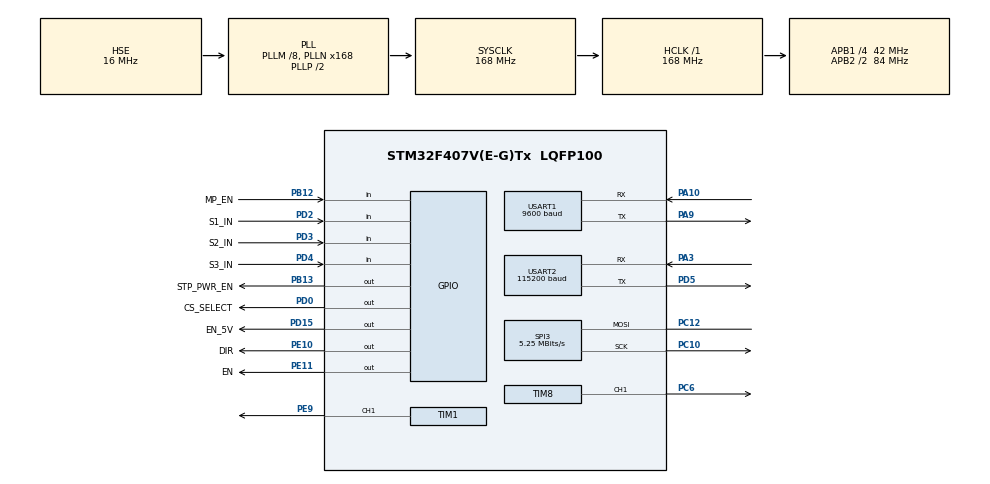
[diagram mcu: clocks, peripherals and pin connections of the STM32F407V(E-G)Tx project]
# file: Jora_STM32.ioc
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FREERTOS.HEAP_NUMBER=4
FREERTOS.INCLUDE_eTaskGetState=1
FREERTOS.INCLUDE_pcTaskGetTaskName=0
FREERTOS.INCLUDE_uxTaskGetStackHighWaterMark=1
FREERTOS.INCLUDE_uxTaskPriorityGet=1
FREERTOS.INCLUDE_vTaskCleanUpResources=0
FREERTOS.INCLUDE_vTaskDelay=1
FREERTOS.INCLUDE_vTaskDelayUntil=1
FREERTOS.INCLUDE_vTaskDelete=1
FREERTOS.INCLUDE_vTaskPrioritySet=1
FREERTOS.INCLUDE_vTaskSuspend=1
FREERTOS.INCLUDE_xEventGroupSetBitFromISR=0
FREERTOS.INCLUDE_xQueueGetMutexHolder=1
FREERTOS.INCLUDE_xSemaphoreGetMutexHolder=0
FREERTOS.INCLUDE_xTaskAbortDelay=0
FREERTOS.INCLUDE_xTaskGetCurrentTaskHandle=0
FREERTOS.INCLUDE_xTaskGetHandle=0
FREERTOS.INCLUDE_xTaskGetSchedulerState=1
FREERTOS.INCLUDE_xTaskResumeFromISR=1
FREERTOS.INCLUDE_xTimerPendFunctionCall=1
FREERTOS.Tasks01=Scan,24,128,SonnarTask,Default,NULL,Dynamic,NULL,NULL;Standby,24,128,StandbyTask,Default,NULL,Dynamic,NULL,NULL;Eye,24,128,EyeTask,Default,NULL,Dynamic,NULL,NULL;Led,24,128,LedTask,Default,NULL,Dynamic,NULL,NULL;MPE,24,128,En_Task,Default,NULL,Dynamic,NULL,NULL
FREERTOS.configCHECK_FOR_STACK_OVERFLOW=0
FREERTOS.configENABLE_BACKWARD_COMPATIBILITY=1
FREERTOS.configGENERATE_RUN_TIME_STATS=0
FREERTOS.configIDLE_SHOULD_YIELD=1
FREERTOS.configLIBRARY_LOWEST_INTERRUPT_PRIORITY=15
FREERTOS.configLIBRARY_MAX_SYSCALL_INTERRUPT_PRIORITY=5
FREERTOS.configMAX_CO_ROUTINE_PRIORITIES=2
FREERTOS.configMAX_TASK_NAME_LEN=16
FREERTOS.configMINIMAL_STACK_SIZE=128
FREERTOS.configQUEUE_REGISTRY_SIZE=8
FREERTOS.configRECORD_STACK_HIGH_ADDRESS=0
FREERTOS.configTICK_RATE_HZ=1000
FREERTOS.configTIMER_QUEUE_LENGTH=10
FREERTOS.configTIMER_TASK_PRIORITY=2
FREERTOS.configTIMER_TASK_STACK_DEPTH=256
FREERTOS.configTOTAL_HEAP_SIZE=15360
FREERTOS.configUSE_APPLICATION_TASK_TAG=0
FREERTOS.configUSE_COUNTING_SEMAPHORES=1
FREERTOS.configUSE_CO_ROUTINES=0
FREERTOS.configUSE_DAEMON_TASK_STARTUP_HOOK=0
FREERTOS.configUSE_IDLE_HOOK=0
FREERTOS.configUSE_MALLOC_FAILED_HOOK=0
FREERTOS.configUSE_MUTEXES=1
FREERTOS.configUSE_PREEMPTION=1
FREERTOS.configUSE_RECURSIVE_MUTEXES=1
FREERTOS.configUSE_STATS_FORMATTING_FUNCTIONS=0
FREERTOS.configUSE_TASK_NOTIFICATIONS=1
FREERTOS.configUSE_TICKLESS_IDLE=0
FREERTOS.configUSE_TICK_HOOK=0
FREERTOS.configUSE_TRACE_FACILITY=1
Mcu.Family=STM32F4
Mcu.Name=STM32F407V(E-G)Tx
Mcu.Package=LQFP100
NVIC.PriorityGroup=NVIC_PRIORITYGROUP_4
NVIC.TIM2_IRQn=true\:0\:0\:false\:false\:true\:false\:false\:true
NVIC.TimeBase=TIM2_IRQn
NVIC.TimeBaseIP=TIM2
NVIC.USART2_IRQn=true\:6\:0\:true\:false\:true\:true\:true\:true
PA10.Mode=Asynchronous
PA10.Signal=USART1_RX
PA13.Mode=Serial_Wire
PA13.Signal=SYS_JTMS-SWDIO
PA14.Mode=Serial_Wire
PA14.Signal=SYS_JTCK-SWCLK
PA3.Mode=Asynchronous
PA3.Signal=USART2_RX
PA9.Mode=Asynchronous
PA9.Signal=USART1_TX
PB12.GPIO_Label=MP_EN
PB12.Signal=GPIO_Input
PB13.GPIO_Label=STP_PWR_EN
PB13.Signal=GPIO_Output
PC10.Mode=Simplex_Bidirectional_Master
PC10.Signal=SPI3_SCK
PC12.Mode=Simplex_Bidirectional_Master
PC12.Signal=SPI3_MOSI
PC6.GPIO_Speed=GPIO_SPEED_FREQ_VERY_HIGH
PC6.Signal=S_TIM8_CH1
PD0.GPIO_Label=CS_SELECT
PD0.Signal=GPIO_Output
PD15.GPIO_Label=EN_5V
PD15.PinState=GPIO_PIN_RESET
PD15.Signal=GPIO_Output
PD2.GPIO_Label=S1_IN
PD2.Signal=GPIO_Input
PD3.GPIO_Label=S2_IN
PD3.Signal=GPIO_Input
PD4.GPIO_Label=S3_IN
PD4.Signal=GPIO_Input
PD5.Mode=Asynchronous
PD5.Signal=USART2_TX
PE10.GPIO_Label=DIR
PE10.GPIO_Speed=GPIO_SPEED_FREQ_LOW
PE10.PinState=GPIO_PIN_SET
PE10.Signal=GPIO_Output
PE11.GPIO_Label=EN
PE11.GPIO_Speed=GPIO_SPEED_FREQ_MEDIUM
PE11.PinState=GPIO_PIN_RESET
PE11.Signal=GPIO_Output
PE9.GPIO_Speed=GPIO_SPEED_FREQ_HIGH
PE9.Signal=S_TIM1_CH1
PH0-OSC_IN.Mode=HSE-External-Oscillator
PH0-OSC_IN.Signal=RCC_OSC_IN
PH1-OSC_OUT.Mode=HSE-External-Oscillator
PH1-OSC_OUT.Signal=RCC_OSC_OUT
ProjectManager.HeapSize=0x200
ProjectManager.StackSize=0x400
ProjectManager.TargetToolchain=MDK-ARM V5.27
RCC.48MHZClocksFreq_Value=84000000
RCC.AHBFreq_Value=168000000
RCC.APB1CLKDivider=RCC_HCLK_DIV4
RCC.APB1Freq_Value=42000000
RCC.APB1TimFreq_Value=84000000
RCC.APB2CLKDivider=RCC_HCLK_DIV2
RCC.APB2Freq_Value=84000000
RCC.APB2TimFreq_Value=168000000
RCC.CortexFreq_Value=168000000
RCC.FLatency=FLASH_LATENCY_5
RCC.HCLKFreq_Value=168000000
RCC.HSE_VALUE=16000000
RCC.HSI_VALUE=16000000
RCC.LSE_VALUE=32768
RCC.PLLM=8
RCC.PLLN=168
RCC.PLLSourceVirtual=RCC_PLLSOURCE_HSE
RCC.SYSCLKFreq_VALUE=168000000
RCC.SYSCLKSource=RCC_SYSCLKSOURCE_PLLCLK
RCC.VCOOutputFreq_Value=336000000
SH.S_TIM1_CH1.0=TIM1_CH1,PWM Generation1 CH1
SH.S_TIM8_CH1.0=TIM8_CH1,PWM Generation1 CH1
SPI3.BaudRatePrescaler=SPI_BAUDRATEPRESCALER_8
SPI3.CalculateBaudRate=5.25 MBits/s
SPI3.Direction=SPI_DIRECTION_1LINE
SPI3.Mode=SPI_MODE_MASTER
SPI3.VirtualType=VM_MASTER
TIM1.AutoReloadPreload=TIM_AUTORELOAD_PRELOAD_DISABLE
TIM1.AutomaticOutput=TIM_AUTOMATICOUTPUT_DISABLE
TIM1.BreakPolarity=TIM_BREAKPOLARITY_HIGH
TIM1.BreakState=TIM_BREAK_DISABLE
TIM1.Channel-PWM\ Generation1\ CH1=TIM_CHANNEL_1
TIM1.ClockDivision=TIM_CLOCKDIVISION_DIV1
TIM1.CounterMode=TIM_COUNTERMODE_UP
TIM1.LockLevel=TIM_LOCKLEVEL_OFF
TIM1.OC1Preload_PWM=ENABLE
TIM1.OCFastMode_PWM-PWM\ Generation1\ CH1=TIM_OCFAST_DISABLE
TIM1.OCIdleState_1=TIM_OCIDLESTATE_RESET
TIM1.OCMode_PWM-PWM\ Generation1\ CH1=TIM_OCMODE_PWM1
TIM1.OCPolarity_1=TIM_OCPOLARITY_HIGH
TIM1.OffStateIDLEMode=TIM_OSSI_DISABLE
TIM1.OffStateRunMode=TIM_OSSR_DISABLE
TIM1.Period=335
TIM1.Prescaler=99
TIM1.Pulse-PWM\ Generation1\ CH1=0
TIM1.RepetitionCounter=0
TIM1.TIM_MasterOutputTrigger=TIM_TRGO_RESET
TIM1.TIM_MasterSlaveMode=TIM_MASTERSLAVEMODE_DISABLE
TIM8.AutoReloadPreload=TIM_AUTORELOAD_PRELOAD_DISABLE
TIM8.AutomaticOutput=TIM_AUTOMATICOUTPUT_DISABLE
TIM8.BreakPolarity=TIM_BREAKPOLARITY_HIGH
TIM8.BreakState=TIM_BREAK_DISABLE
TIM8.Channel-PWM\ Generation1\ CH1=TIM_CHANNEL_1
TIM8.ClockDivision=TIM_CLOCKDIVISION_DIV1
TIM8.CounterMode=TIM_COUNTERMODE_UP
TIM8.LockLevel=TIM_LOCKLEVEL_OFF
TIM8.OC1Preload_PWM=ENABLE
TIM8.OCFastMode_PWM-PWM\ Generation1\ CH1=TIM_OCFAST_DISABLE
TIM8.OCIdleState_1=TIM_OCIDLESTATE_RESET
TIM8.OCMode_PWM-PWM\ Generation1\ CH1=TIM_OCMODE_PWM1
TIM8.OCPolarity_1=TIM_OCPOLARITY_HIGH
TIM8.OffStateIDLEMode=TIM_OSSI_DISABLE
TIM8.OffStateRunMode=TIM_OSSR_DISABLE
TIM8.Period=1679
TIM8.Prescaler=9
TIM8.Pulse-PWM\ Generation1\ CH1=0
TIM8.RepetitionCounter=0
TIM8.TIM_MasterOutputTrigger=TIM_TRGO_RESET
TIM8.TIM_MasterSlaveMode=TIM_MASTERSLAVEMODE_DISABLE
USART1.BaudRate=9600
USART1.Mode=MODE_TX_RX
USART1.OverSampling=UART_OVERSAMPLING_16
USART1.Parity=PARITY_NONE
USART1.StopBits=STOPBITS_1
USART1.VirtualMode=VM_ASYNC
USART1.WordLength=WORDLENGTH_8B
USART2.BaudRate=115200
USART2.Mode=MODE_TX_RX
USART2.OverSampling=UART_OVERSAMPLING_16
USART2.Parity=PARITY_NONE
USART2.StopBits=STOPBITS_1
USART2.VirtualMode=VM_ASYNC
USART2.WordLength=WORDLENGTH_8B
VP_FREERTOS_VS_CMSIS_V2.Mode=CMSIS_V2
VP_SYS_VS_tim2.Mode=TIM2
board=custom

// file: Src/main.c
/* USER CODE BEGIN Header */
/**
  ******************************************************************************
  * @file           : main.c
  * @brief          : Main program body
  ******************************************************************************
  * @attention
  *
  * <h2><center>&copy; Copyright (c) 2019 STMicroelectronics.
  * All rights reserved.</center></h2>
  *
  * This software component is licensed by ST under BSD 3-Clause license,
  * the "License"; You may not use this file except in compliance with the
  * License. You may obtain a copy of the License at:
  *                        opensource.org/licenses/BSD-3-Clause
  *
  ******************************************************************************
  */
/* USER CODE END Header */

#include "main.h"
#include "cmsis_os.h"

/* USER CODE BEGIN Includes */
#include "stdio.h"
#include "dwt_delay.h"
#include "stdbool.h"
#include "max7219.h"
#include "dfplayer.h"
#include "stepper.h"
#include <string.h>
/* USER CODE END Includes */

SPI_HandleTypeDef hspi3;

TIM_HandleTypeDef htim1;
TIM_HandleTypeDef htim8;

UART_HandleTypeDef huart1;
UART_HandleTypeDef huart2;

osThreadId_t ScanHandle;
osThreadId_t StandbyHandle;
osThreadId_t EyeHandle;
osThreadId_t LedHandle;
osThreadId_t MPEHandle;
/* USER CODE BEGIN PV */
//Input buffer from Atmega328p. Raw data
uint8_t in_buffer[9]={0}; // Raw data from 3 sensors
uint8_t mp1[10] = {0x7E, 0xFF, 06, 0x12, 00, 00, 01, 0xFE, 0xE8, 0xEF};
//Sonar data chars
char s1_capture[3]; //Sonar 1 char array
char s2_capture[3];	//Sonar 2 char array
char s3_capture[3];	//Sonar 3 char array
//
uint8_t measure_mess[1]="1"; //Message for Atmega328p
bool human = false; //If human is near Jora bool will be true
bool mainpwr_en = false;
int estate;
int standby_phrases = 1; //Counter for standby phrases
/* USER CODE END PV */

void SystemClock_Config(void);
static void MX_GPIO_Init(void);
static void MX_TIM1_Init(void);
static void MX_TIM8_Init(void);
static void MX_USART1_UART_Init(void);
static void MX_SPI3_Init(void);
static void MX_USART2_UART_Init(void);
void SonnarTask(void *argument);
void StandbyTask(void *argument);
void EyeTask(void *argument);
void LedTask(void *argument);
void En_Task(void *argument);

/* USER CODE BEGIN 0 */
void sonnar() {
	int i;
  //If RX receive. Interrupt. USART2
  if (huart2.RxXferCount == 0) {
    HAL_UART_Receive_IT(&huart2, in_buffer, 9);
  }
  //From RAW data to sensors arrays
  for(i = 0; i<=2;i++)
	{
  s1_capture[i]=in_buffer[i];
  }

  for(i = 0; i<=2;i++) {
  s2_capture[i]=in_buffer[i+3];
  }

  for(i = 0; i<=2;i++) {
  s3_capture[i]=in_buffer[i+6];
  }

  //Making register cell 0, becase RAW data send empty data.
  if (s1_capture[0] == 0x20) {
    s1_capture[0] = 0;
  }
  if (s2_capture[0] == 0x20) {
    s2_capture[0] = 0;
  }
  if (s3_capture[0] == 0x20) {
    s3_capture[0] = 0;
  }
  //
  if (s1_capture[1] == 0x20) {
    s1_capture[1] = 0x00;
  }
  if (s2_capture[1] == 0x20) {
    s2_capture[1] = 0x00;
  }
  if (s3_capture[1] == 0x20) {
    s3_capture[1] = 0x00;
  }
  if (s1_capture[1] <= 0x35) {
    s1_capture[1] = 0x00;
  }
  if (s2_capture[1] <= 0x35) {
    s2_capture[1] = 0x00;
  }
  if (s3_capture[1] <= 0x35) {
    s3_capture[1] = 0x00;
  }
  //Send command to Atmge328p compose data and transmit it to STM32 main board
	memset(in_buffer, 0, 9); //Erase in buffer
  HAL_UART_Transmit(&huart2, measure_mess, 1, 500);
  HAL_Delay(100);
  //Checking if human is there
  if ((s1_capture[0] <= 0x00 && s1_capture[1] <= 0x00 && s1_capture[2] <= 0x39) || (s2_capture[0] <= 0x00 && s2_capture[1] <= 0x00 && s2_capture[2] <= 0x39) || (s3_capture[0] <= 0x00 && s3_capture[1] <= 0x00 && s3_capture[2] <= 0x39)) {
    human = true; //If human near robot
  } else {
    human = false; //If human far away from robot
  }
  HAL_Delay(500);
}
void test_mp3()
{
	HAL_UART_Transmit(&huart1, mp1, 10, 400);
}
/* USER CODE END 0 */

int main(void)
{
  /* USER CODE BEGIN 1 */
	HAL_GPIO_WritePin(GPIOE, EN_Pin, GPIO_PIN_SET);
  /* USER CODE END 1 */

  /* MCU Configuration--------------------------------------------------------*/

  /* Reset of all peripherals, Initializes the Flash interface and the Systick. */
  HAL_Init();

  /* USER CODE BEGIN Init */
  DWT_Init(); //Micro seconds funcion
  /* USER CODE END Init */

  /* Configure the system clock */
  SystemClock_Config();

  /* Initialize all configured peripherals */
  MX_GPIO_Init();
  MX_TIM1_Init();
  MX_TIM8_Init();
  MX_USART1_UART_Init();
  MX_SPI3_Init();
  MX_USART2_UART_Init();
  /* USER CODE BEGIN 2 */
  TIM1->CCR1 = 168; //Stepper PWM duty cycle set. Equal 50%
  TIM8->CCR1 = 600; //Led PWM duty cycle set. Equal 50%
  HAL_Delay(1000);
  HAL_TIM_PWM_Start(&htim8, TIM_CHANNEL_1);   //Start PWM HTIM8
  HAL_UART_Receive_IT(&huart2, in_buffer, 9); //Start USART2 RX funcion
  /* USER CODE END 2 */

  osKernelInitialize();

  /* Create the thread(s) */
  /* definition and creation of Scan */
  const osThreadAttr_t Scan_attributes = {
    .name = "Scan",
    .priority = (osPriority_t) osPriorityNormal,
    .stack_size = 128
  };
  ScanHandle = osThreadNew(SonnarTask, NULL, &Scan_attributes);

  /* definition and creation of Standby */
  const osThreadAttr_t Standby_attributes = {
    .name = "Standby",
    .priority = (osPriority_t) osPriorityNormal,
    .stack_size = 128
  };
  StandbyHandle = osThreadNew(StandbyTask, NULL, &Standby_attributes);

  /* definition and creation of Eye */
  const osThreadAttr_t Eye_attributes = {
    .name = "Eye",
    .priority = (osPriority_t) osPriorityNormal,
    .stack_size = 128
  };
  EyeHandle = osThreadNew(EyeTask, NULL, &Eye_attributes);

  /* definition and creation of Led */
  const osThreadAttr_t Led_attributes = {
    .name = "Led",
    .priority = (osPriority_t) osPriorityNormal,
    .stack_size = 128
  };
  LedHandle = osThreadNew(LedTask, NULL, &Led_attributes);

  /* definition and creation of MPE */
  const osThreadAttr_t MPE_attributes = {
    .name = "MPE",
    .priority = (osPriority_t) osPriorityNormal,
    .stack_size = 128
  };
  MPEHandle = osThreadNew(En_Task, NULL, &MPE_attributes);

  /* Start scheduler */
  osKernelStart();

  /* We should never get here as control is now taken by the scheduler */

  /* Infinite loop */
  while (1)
  {

	}
}

void SystemClock_Config(void)
{
  RCC_OscInitTypeDef RCC_OscInitStruct = {0};
  RCC_ClkInitTypeDef RCC_ClkInitStruct = {0};

  /** Configure the main internal regulator output voltage
  */
  __HAL_RCC_PWR_CLK_ENABLE();
  __HAL_PWR_VOLTAGESCALING_CONFIG(PWR_REGULATOR_VOLTAGE_SCALE1);
  /** Initializes the CPU, AHB and APB busses clocks
  */
  RCC_OscInitStruct.OscillatorType = RCC_OSCILLATORTYPE_HSE;
  RCC_OscInitStruct.HSEState = RCC_HSE_ON;
  RCC_OscInitStruct.PLL.PLLState = RCC_PLL_ON;
  RCC_OscInitStruct.PLL.PLLSource = RCC_PLLSOURCE_HSE;
  RCC_OscInitStruct.PLL.PLLM = 8;
  RCC_OscInitStruct.PLL.PLLN = 168;
  RCC_OscInitStruct.PLL.PLLP = RCC_PLLP_DIV2;
  RCC_OscInitStruct.PLL.PLLQ = 4;
  if (HAL_RCC_OscConfig(&RCC_OscInitStruct) != HAL_OK)
  {
    Error_Handler();
  }
  /** Initializes the CPU, AHB and APB busses clocks
  */
  RCC_ClkInitStruct.ClockType = RCC_CLOCKTYPE_HCLK|RCC_CLOCKTYPE_SYSCLK
                              |RCC_CLOCKTYPE_PCLK1|RCC_CLOCKTYPE_PCLK2;
  RCC_ClkInitStruct.SYSCLKSource = RCC_SYSCLKSOURCE_PLLCLK;
  RCC_ClkInitStruct.AHBCLKDivider = RCC_SYSCLK_DIV1;
  RCC_ClkInitStruct.APB1CLKDivider = RCC_HCLK_DIV4;
  RCC_ClkInitStruct.APB2CLKDivider = RCC_HCLK_DIV2;

  if (HAL_RCC_ClockConfig(&RCC_ClkInitStruct, FLASH_LATENCY_5) != HAL_OK)
  {
    Error_Handler();
  }
}

static void MX_SPI3_Init(void)
{

  /* SPI3 parameter configuration*/
  hspi3.Instance = SPI3;
  hspi3.Init.Mode = SPI_MODE_MASTER;
  hspi3.Init.Direction = SPI_DIRECTION_1LINE;
  hspi3.Init.DataSize = SPI_DATASIZE_8BIT;
  hspi3.Init.CLKPolarity = SPI_POLARITY_LOW;
  hspi3.Init.CLKPhase = SPI_PHASE_1EDGE;
  hspi3.Init.NSS = SPI_NSS_SOFT;
  hspi3.Init.BaudRatePrescaler = SPI_BAUDRATEPRESCALER_8;
  hspi3.Init.FirstBit = SPI_FIRSTBIT_MSB;
  hspi3.Init.TIMode = SPI_TIMODE_DISABLE;
  hspi3.Init.CRCCalculation = SPI_CRCCALCULATION_DISABLE;
  hspi3.Init.CRCPolynomial = 10;
  if (HAL_SPI_Init(&hspi3) != HAL_OK)
  {
    Error_Handler();
  }

}

static void MX_TIM1_Init(void)
{

  TIM_MasterConfigTypeDef sMasterConfig = {0};
  TIM_OC_InitTypeDef sConfigOC = {0};
  TIM_BreakDeadTimeConfigTypeDef sBreakDeadTimeConfig = {0};

  htim1.Instance = TIM1;
  htim1.Init.Prescaler = 99;
  htim1.Init.CounterMode = TIM_COUNTERMODE_UP;
  htim1.Init.Period = 335;
  htim1.Init.ClockDivision = TIM_CLOCKDIVISION_DIV1;
  htim1.Init.RepetitionCounter = 0;
  htim1.Init.AutoReloadPreload = TIM_AUTORELOAD_PRELOAD_DISABLE;
  if (HAL_TIM_PWM_Init(&htim1) != HAL_OK)
  {
    Error_Handler();
  }
  sMasterConfig.MasterOutputTrigger = TIM_TRGO_RESET;
  sMasterConfig.MasterSlaveMode = TIM_MASTERSLAVEMODE_DISABLE;
  if (HAL_TIMEx_MasterConfigSynchronization(&htim1, &sMasterConfig) != HAL_OK)
  {
    Error_Handler();
  }
  sConfigOC.OCMode = TIM_OCMODE_PWM1;
  sConfigOC.Pulse = 0;
  sConfigOC.OCPolarity = TIM_OCPOLARITY_HIGH;
  sConfigOC.OCNPolarity = TIM_OCNPOLARITY_HIGH;
  sConfigOC.OCFastMode = TIM_OCFAST_DISABLE;
  sConfigOC.OCIdleState = TIM_OCIDLESTATE_RESET;
  sConfigOC.OCNIdleState = TIM_OCNIDLESTATE_RESET;
  if (HAL_TIM_PWM_ConfigChannel(&htim1, &sConfigOC, TIM_CHANNEL_1) != HAL_OK)
  {
    Error_Handler();
  }
  sBreakDeadTimeConfig.OffStateRunMode = TIM_OSSR_DISABLE;
  sBreakDeadTimeConfig.OffStateIDLEMode = TIM_OSSI_DISABLE;
  sBreakDeadTimeConfig.LockLevel = TIM_LOCKLEVEL_OFF;
  sBreakDeadTimeConfig.DeadTime = 0;
  sBreakDeadTimeConfig.BreakState = TIM_BREAK_DISABLE;
  sBreakDeadTimeConfig.BreakPolarity = TIM_BREAKPOLARITY_HIGH;
  sBreakDeadTimeConfig.AutomaticOutput = TIM_AUTOMATICOUTPUT_DISABLE;
  if (HAL_TIMEx_ConfigBreakDeadTime(&htim1, &sBreakDeadTimeConfig) != HAL_OK)
  {
    Error_Handler();
  }
  HAL_TIM_MspPostInit(&htim1);

}

static void MX_TIM8_Init(void)
{

  TIM_MasterConfigTypeDef sMasterConfig = {0};
  TIM_OC_InitTypeDef sConfigOC = {0};
  TIM_BreakDeadTimeConfigTypeDef sBreakDeadTimeConfig = {0};

  htim8.Instance = TIM8;
  htim8.Init.Prescaler = 9;
  htim8.Init.CounterMode = TIM_COUNTERMODE_UP;
  htim8.Init.Period = 1679;
  htim8.Init.ClockDivision = TIM_CLOCKDIVISION_DIV1;
  htim8.Init.RepetitionCounter = 0;
  htim8.Init.AutoReloadPreload = TIM_AUTORELOAD_PRELOAD_DISABLE;
  if (HAL_TIM_PWM_Init(&htim8) != HAL_OK)
  {
    Error_Handler();
  }
  sMasterConfig.MasterOutputTrigger = TIM_TRGO_RESET;
  sMasterConfig.MasterSlaveMode = TIM_MASTERSLAVEMODE_DISABLE;
  if (HAL_TIMEx_MasterConfigSynchronization(&htim8, &sMasterConfig) != HAL_OK)
  {
    Error_Handler();
  }
  sConfigOC.OCMode = TIM_OCMODE_PWM1;
  sConfigOC.Pulse = 0;
  sConfigOC.OCPolarity = TIM_OCPOLARITY_HIGH;
  sConfigOC.OCNPolarity = TIM_OCNPOLARITY_HIGH;
  sConfigOC.OCFastMode = TIM_OCFAST_DISABLE;
  sConfigOC.OCIdleState = TIM_OCIDLESTATE_RESET;
  sConfigOC.OCNIdleState = TIM_OCNIDLESTATE_RESET;
  if (HAL_TIM_PWM_ConfigChannel(&htim8, &sConfigOC, TIM_CHANNEL_1) != HAL_OK)
  {
    Error_Handler();
  }
  sBreakDeadTimeConfig.OffStateRunMode = TIM_OSSR_DISABLE;
  sBreakDeadTimeConfig.OffStateIDLEMode = TIM_OSSI_DISABLE;
  sBreakDeadTimeConfig.LockLevel = TIM_LOCKLEVEL_OFF;
  sBreakDeadTimeConfig.DeadTime = 0;
  sBreakDeadTimeConfig.BreakState = TIM_BREAK_DISABLE;
  sBreakDeadTimeConfig.BreakPolarity = TIM_BREAKPOLARITY_HIGH;
  sBreakDeadTimeConfig.AutomaticOutput = TIM_AUTOMATICOUTPUT_DISABLE;
  if (HAL_TIMEx_ConfigBreakDeadTime(&htim8, &sBreakDeadTimeConfig) != HAL_OK)
  {
    Error_Handler();
  }
  HAL_TIM_MspPostInit(&htim8);

}

static void MX_USART1_UART_Init(void)
{

  huart1.Instance = USART1;
  huart1.Init.BaudRate = 9600;
  huart1.Init.WordLength = UART_WORDLENGTH_8B;
  huart1.Init.StopBits = UART_STOPBITS_1;
  huart1.Init.Parity = UART_PARITY_NONE;
  huart1.Init.Mode = UART_MODE_TX_RX;
  huart1.Init.HwFlowCtl = UART_HWCONTROL_NONE;
  huart1.Init.OverSampling = UART_OVERSAMPLING_16;
  if (HAL_UART_Init(&huart1) != HAL_OK)
  {
    Error_Handler();
  }

}

static void MX_USART2_UART_Init(void)
{

  huart2.Instance = USART2;
  huart2.Init.BaudRate = 115200;
  huart2.Init.WordLength = UART_WORDLENGTH_8B;
  huart2.Init.StopBits = UART_STOPBITS_1;
  huart2.Init.Parity = UART_PARITY_NONE;
  huart2.Init.Mode = UART_MODE_TX_RX;
  huart2.Init.HwFlowCtl = UART_HWCONTROL_NONE;
  huart2.Init.OverSampling = UART_OVERSAMPLING_16;
  if (HAL_UART_Init(&huart2) != HAL_OK)
  {
    Error_Handler();
  }

}

static void MX_GPIO_Init(void)
{
  GPIO_InitTypeDef GPIO_InitStruct = {0};

  /* GPIO Ports Clock Enable */
  __HAL_RCC_GPIOH_CLK_ENABLE();
  __HAL_RCC_GPIOA_CLK_ENABLE();
  __HAL_RCC_GPIOE_CLK_ENABLE();
  __HAL_RCC_GPIOB_CLK_ENABLE();
  __HAL_RCC_GPIOD_CLK_ENABLE();
  __HAL_RCC_GPIOC_CLK_ENABLE();

  /*Configure GPIO pin Output Level */
  HAL_GPIO_WritePin(DIR_GPIO_Port, DIR_Pin, GPIO_PIN_SET);

  /*Configure GPIO pin Output Level */
  HAL_GPIO_WritePin(EN_GPIO_Port, EN_Pin, GPIO_PIN_RESET);

  /*Configure GPIO pin Output Level */
  HAL_GPIO_WritePin(STP_PWR_EN_GPIO_Port, STP_PWR_EN_Pin, GPIO_PIN_RESET);

  /*Configure GPIO pin Output Level */
  HAL_GPIO_WritePin(GPIOD, EN_5V_Pin|CS_SELECT_Pin, GPIO_PIN_RESET);

  /*Configure GPIO pin : DIR_Pin */
  GPIO_InitStruct.Pin = DIR_Pin;
  GPIO_InitStruct.Mode = GPIO_MODE_OUTPUT_PP;
  GPIO_InitStruct.Pull = GPIO_NOPULL;
  GPIO_InitStruct.Speed = GPIO_SPEED_FREQ_LOW;
  HAL_GPIO_Init(DIR_GPIO_Port, &GPIO_InitStruct);

  /*Configure GPIO pin : EN_Pin */
  GPIO_InitStruct.Pin = EN_Pin;
  GPIO_InitStruct.Mode = GPIO_MODE_OUTPUT_PP;
  GPIO_InitStruct.Pull = GPIO_NOPULL;
  GPIO_InitStruct.Speed = GPIO_SPEED_FREQ_MEDIUM;
  HAL_GPIO_Init(EN_GPIO_Port, &GPIO_InitStruct);

  /*Configure GPIO pin : MP_EN_Pin */
  GPIO_InitStruct.Pin = MP_EN_Pin;
  GPIO_InitStruct.Mode = GPIO_MODE_INPUT;
  GPIO_InitStruct.Pull = GPIO_NOPULL;
  HAL_GPIO_Init(MP_EN_GPIO_Port, &GPIO_InitStruct);

  /*Configure GPIO pin : STP_PWR_EN_Pin */
  GPIO_InitStruct.Pin = STP_PWR_EN_Pin;
  GPIO_InitStruct.Mode = GPIO_MODE_OUTPUT_PP;
  GPIO_InitStruct.Pull = GPIO_NOPULL;
  GPIO_InitStruct.Speed = GPIO_SPEED_FREQ_LOW;
  HAL_GPIO_Init(STP_PWR_EN_GPIO_Port, &GPIO_InitStruct);

  /*Configure GPIO pins : EN_5V_Pin CS_SELECT_Pin */
  GPIO_InitStruct.Pin = EN_5V_Pin|CS_SELECT_Pin;
  GPIO_InitStruct.Mode = GPIO_MODE_OUTPUT_PP;
  GPIO_InitStruct.Pull = GPIO_NOPULL;
  GPIO_InitStruct.Speed = GPIO_SPEED_FREQ_LOW;
  HAL_GPIO_Init(GPIOD, &GPIO_InitStruct);

  /*Configure GPIO pins : S1_IN_Pin S2_IN_Pin S3_IN_Pin */
  GPIO_InitStruct.Pin = S1_IN_Pin|S2_IN_Pin|S3_IN_Pin;
  GPIO_InitStruct.Mode = GPIO_MODE_INPUT;
  GPIO_InitStruct.Pull = GPIO_NOPULL;
  HAL_GPIO_Init(GPIOD, &GPIO_InitStruct);

}

void SonnarTask(void *argument)
{
  /* USER CODE BEGIN 5 */
  /* Infinite loop */
  for(;;)
  {
    if(mainpwr_en)
    {
      sonnar();
      osDelay(1);
    }
  }
  /* USER CODE END 5 */
}

void StandbyTask(void *argument)
{
  /* USER CODE BEGIN StandbyTask */
  /* Infinite loop */
  for (;;) {
    HAL_Delay(500);
    if (!human && mainpwr_en) {
      //HAL_UART_Transmit(&huart1,mp15,10,1000);
			//test_mp3();
			//HAL_Delay(1000);
      if (standby_phrases == 12) {
        standby_phrases = 1;
      }
      switch (standby_phrases) {
      case 1:
        mp3_play(4);
        break;
      case 2:
        mp3_play(5);
        break;
      case 3:
        mp3_play(8);
        break;
      case 4:
        mp3_play(9);
        break;
      case 5:
        mp3_play(10);
        break;
      case 6:
        mp3_play(13);
        break;
      case 7:
        mp3_play(15);
        break;
      case 8:
        mp3_play(20);
        break;
      case 9:
        mp3_play(23);
        break;
      case 10:
        mp3_play(24);
        break;
      case 11:
        mp3_play(26);
        break;
      case 12:
        mp3_play(37);
        break;
      }

      StepperMove(TIM_CHANNEL_1, 2000, 1, 200, true); //30 steps, forward
      TIM8->CCR1 = 1200;
      StepperMove(TIM_CHANNEL_1, 500, 0, 200, true); //30 steps, forward
      TIM8->CCR1 = 300;
      StepperMove(TIM_CHANNEL_1, 500, 1, 200, true); //30 steps, forward
      TIM8->CCR1 = 700;
      StepperMove(TIM_CHANNEL_1, 1000, 1, 200, true); //30 steps, forward
      TIM8->CCR1 = 900;
      StepperMove(TIM_CHANNEL_1, 1500, 0, 200, true); //30 steps, forward
      TIM8->CCR1 = 200;
      StepperMove(TIM_CHANNEL_1, 1500, 0, 200, false); //30 steps, forward
      TIM8->CCR1 = 600;
      standby_phrases++;
      HAL_Delay(3000);
    }
    if (human && mainpwr_en) {
      mp3_play(52);
      StepperMove(TIM_CHANNEL_1, 3000, 1, 200, true); //30 steps, forward
      HAL_Delay(3000);
      if ((s1_capture[0] <= 0x00 && s1_capture[1] <= 0x00 && s1_capture[2] <= 0x39) || (s2_capture[0] <= 0x00 && s2_capture[1] <= 0x00 && s2_capture[2] <= 0x39) || (s3_capture[0] <= 0x00 && s3_capture[1] <= 0x00 && s3_capture[2] <= 0x39)) {
        StepperMove(TIM_CHANNEL_1, 0, 0, 0, false); //30 steps, forward
        mp3_play(54);
        bite_eye();
        HAL_Delay(2000);
      } else {
        StepperMove(TIM_CHANNEL_1, 3000, 0, 200, false); //30 steps, forward
      }
    }
    osDelay(1);
  }
  /* USER CODE END StandbyTask */
}

void EyeTask(void *argument)
{
  /* USER CODE BEGIN EyeTask */
  /* Infinite loop */
  for (;;) {
    if (!human && mainpwr_en)
		{
			Init_7219();      //Init eye function
			Clear_7219();     //Clear eye matrix
      eye_standby();
      eye_standby();
      eye_move_left();
      eye_move_right();
      osDelay(1);
    }
  }
  /* USER CODE END EyeTask */
}

void LedTask(void *argument)
{
  /* USER CODE BEGIN LedTask */
  /* Infinite loop */
  for (;;) {
    if (human && mainpwr_en) {
      for (int cycle = 0; cycle <= 500; cycle++) {
        TIM8->CCR1 = cycle;
        HAL_Delay(2);
      }
      for (int cycle = 500; cycle >= 0; cycle--) {
        TIM8->CCR1 = cycle;
        HAL_Delay(2);
      }
    }
    osDelay(1);
  }
  /* USER CODE END LedTask */
}

void En_Task(void *argument)
{
  /* USER CODE BEGIN En_Task */
  /* Infinite loop */
  for(;;)
  {
    osDelay(1);
    estate = HAL_GPIO_ReadPin(GPIOD, EN_5V_Pin);
    if(!HAL_GPIO_ReadPin(GPIOB, MP_EN_Pin))
    {
      mainpwr_en = !mainpwr_en;
      HAL_GPIO_TogglePin(GPIOD, EN_5V_Pin);
      HAL_GPIO_TogglePin(GPIOB, STP_PWR_EN_Pin);
      HAL_Delay(100);
      while(!HAL_GPIO_ReadPin(GPIOB, MP_EN_Pin))
      {
        HAL_Delay(10);
      }
      HAL_Delay(1000);
    }
  }
  /* USER CODE END En_Task */
}

void HAL_TIM_PeriodElapsedCallback(TIM_HandleTypeDef *htim)
{
  if (htim->Instance == TIM2) {
    HAL_IncTick();
  }
}

void Error_Handler(void)
{
}

/************************ (C) COPYRIGHT STMicroelectronics *****END OF FILE****/
